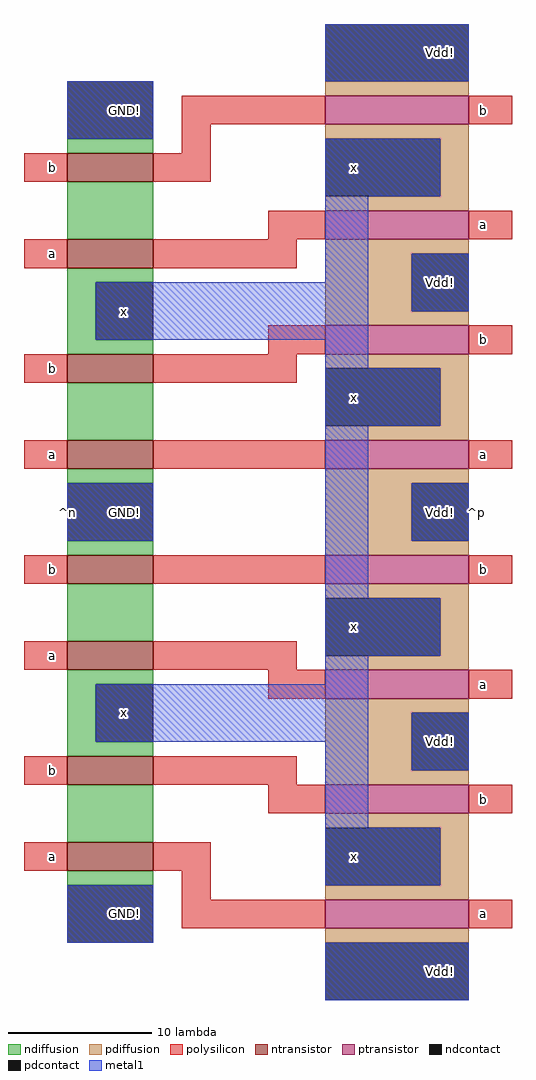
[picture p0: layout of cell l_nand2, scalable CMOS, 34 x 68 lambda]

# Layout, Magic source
magic
tech scmos
<< ndiffusion >>
rect 192 638 198 639
rect 192 632 198 636
rect 192 629 198 630
rect 192 625 194 629
rect 192 624 198 625
rect 192 618 198 622
rect 192 615 198 616
rect 192 610 198 611
rect 192 604 198 608
rect 192 601 198 602
rect 192 597 194 601
rect 192 596 198 597
rect 192 590 198 594
rect 192 587 198 588
<< pdiffusion >>
rect 210 642 220 643
rect 210 639 220 640
rect 218 635 220 639
rect 210 634 220 635
rect 210 631 220 632
rect 210 627 216 631
rect 210 626 220 627
rect 210 623 220 624
rect 218 619 220 623
rect 210 618 220 619
rect 210 615 220 616
rect 210 611 216 615
rect 210 610 220 611
rect 210 607 220 608
rect 218 603 220 607
rect 210 602 220 603
rect 210 599 220 600
rect 210 595 216 599
rect 210 594 220 595
rect 210 591 220 592
rect 218 587 220 591
rect 210 586 220 587
rect 210 583 220 584
<< ntransistor >>
rect 192 636 198 638
rect 192 630 198 632
rect 192 622 198 624
rect 192 616 198 618
rect 192 608 198 610
rect 192 602 198 604
rect 192 594 198 596
rect 192 588 198 590
<< ptransistor >>
rect 210 640 220 642
rect 210 632 220 634
rect 210 624 220 626
rect 210 616 220 618
rect 210 608 220 610
rect 210 600 220 602
rect 210 592 220 594
rect 210 584 220 586
<< polysilicon >>
rect 200 640 210 642
rect 220 640 223 642
rect 200 638 202 640
rect 189 636 192 638
rect 198 636 202 638
rect 206 632 210 634
rect 220 632 223 634
rect 189 630 192 632
rect 198 630 208 632
rect 206 624 210 626
rect 220 624 223 626
rect 189 622 192 624
rect 198 622 208 624
rect 189 616 192 618
rect 198 616 210 618
rect 220 616 223 618
rect 189 608 192 610
rect 198 608 210 610
rect 220 608 223 610
rect 189 602 192 604
rect 198 602 208 604
rect 206 600 210 602
rect 220 600 223 602
rect 189 594 192 596
rect 198 594 208 596
rect 206 592 210 594
rect 220 592 223 594
rect 189 588 192 590
rect 198 588 202 590
rect 200 586 202 588
rect 200 584 210 586
rect 220 584 223 586
<< ndcontact >>
rect 192 639 198 643
rect 194 625 198 629
rect 192 611 198 615
rect 194 597 198 601
rect 192 583 198 587
<< pdcontact >>
rect 210 643 220 647
rect 210 635 218 639
rect 216 627 220 631
rect 210 619 218 623
rect 216 611 220 615
rect 210 603 218 607
rect 216 595 220 599
rect 210 587 218 591
rect 210 579 220 583
<< metal1 >>
rect 210 643 220 647
rect 192 639 198 643
rect 210 635 218 639
rect 210 629 213 635
rect 194 625 213 629
rect 216 627 220 631
rect 210 623 213 625
rect 210 619 218 623
rect 192 611 198 615
rect 210 607 213 619
rect 216 611 220 615
rect 210 603 218 607
rect 210 601 213 603
rect 194 597 213 601
rect 210 591 213 597
rect 216 595 220 599
rect 210 587 218 591
rect 192 583 198 587
rect 210 579 220 583
<< labels >>
rlabel space 189 582 195 644 7 ^n
rlabel polysilicon 191 603 191 603 3 a
rlabel polysilicon 191 609 191 609 3 b
rlabel polysilicon 191 589 191 589 3 a
rlabel polysilicon 191 595 191 595 3 b
rlabel polysilicon 191 623 191 623 3 b
rlabel polysilicon 191 617 191 617 3 a
rlabel polysilicon 191 637 191 637 3 b
rlabel polysilicon 191 631 191 631 3 a
rlabel space 217 578 224 648 3 ^p
rlabel polysilicon 221 641 221 641 3 b
rlabel polysilicon 221 625 221 625 3 b
rlabel polysilicon 221 609 221 609 3 b
rlabel polysilicon 221 593 221 593 3 b
rlabel polysilicon 221 585 221 585 3 a
rlabel polysilicon 221 601 221 601 3 a
rlabel polysilicon 221 617 221 617 3 a
rlabel polysilicon 221 633 221 633 3 a
rlabel ndcontact 196 641 196 641 1 GND!
rlabel ndcontact 196 627 196 627 1 x
rlabel ndcontact 196 613 196 613 1 GND!
rlabel ndcontact 196 599 196 599 1 x
rlabel ndcontact 196 585 196 585 1 GND!
rlabel pdcontact 212 589 212 589 1 x
rlabel pdcontact 212 605 212 605 1 x
rlabel pdcontact 212 621 212 621 1 x
rlabel pdcontact 212 637 212 637 1 x
rlabel pdcontact 218 629 218 629 1 Vdd!
rlabel pdcontact 218 613 218 613 1 Vdd!
rlabel pdcontact 218 597 218 597 1 Vdd!
rlabel pdcontact 218 581 218 581 1 Vdd!
rlabel pdcontact 218 645 218 645 1 Vdd!
<< end >>
